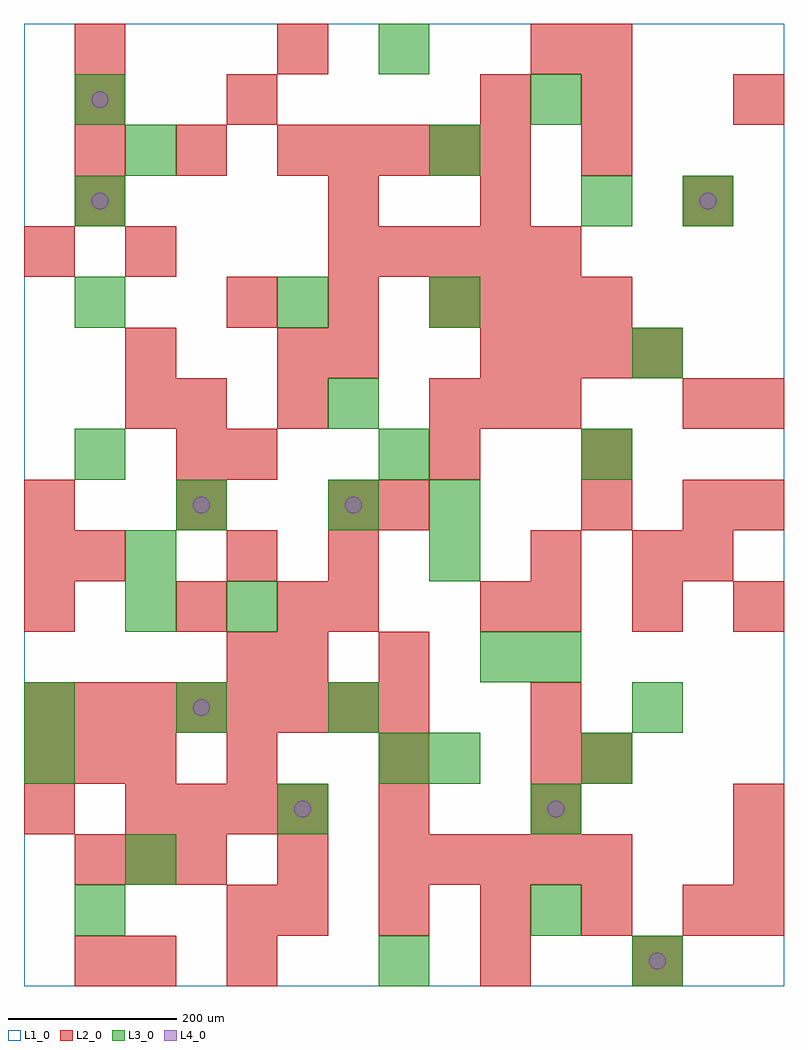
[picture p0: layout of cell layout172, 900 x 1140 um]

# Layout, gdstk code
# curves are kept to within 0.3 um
import gdstk
lib = gdstk.Library(unit=1e-6, precision=1e-09)
def R(c, l, rs):  # rectangles x0, y0, x1, y1
    for r in rs: c.add(gdstk.rectangle(r[:2], r[2:], *l))
def A(c, l, x, y, w, h, nx, ny, dx, dy):  # array of equal rectangles
    R(c, l, [(x+i*dx, y+j*dy, x+i*dx+w, y+j*dy+h) for i in range(nx) for j in range(ny)])
def P(c, l, *ps):  # polygons
    for p in ps: c.add(gdstk.Polygon(p, *l))
L1_0 = (1, 0)
L2_0 = (2, 0)
L3_0 = (3, 0)
L4_0 = (4, 0)

layout172 = lib.new_cell('layout172')
R(layout172, L1_0, [(0,0,900,1140)])
A(layout172, L2_0, 300, 60, 60, 60, 5, 1, 120, 0)
A(layout172, L2_0, 840, 60, 60, 60, 1, 3, 0, 60)
A(layout172, L2_0, 60, 120, 60, 60, 3, 1, 60, 0)
A(layout172, L2_0, 420, 120, 60, 60, 5, 1, 60, 0)
A(layout172, L2_0, 120, 180, 60, 60, 4, 1, 60, 0)
A(layout172, L2_0, 420, 180, 60, 60, 1, 3, 0, 180)
A(layout172, L2_0, 0, 240, 60, 60, 3, 1, 60, 0)
A(layout172, L2_0, 240, 240, 60, 60, 3, 1, 180, 0)
A(layout172, L2_0, 0, 300, 60, 60, 8, 1, 60, 0)
A(layout172, L2_0, 240, 360, 60, 60, 1, 3, 0, 120)
A(layout172, L2_0, 600, 420, 60, 60, 3, 1, 120, 0)
A(layout172, L2_0, 0, 540, 60, 60, 3, 1, 180, 0)
A(layout172, L2_0, 480, 660, 60, 60, 3, 1, 60, 0)
A(layout172, L2_0, 540, 720, 60, 60, 4, 1, 60, 0)
A(layout172, L2_0, 240, 780, 60, 60, 3, 1, 120, 0)
A(layout172, L2_0, 540, 780, 60, 60, 3, 1, 60, 0)
A(layout172, L2_0, 360, 840, 60, 60, 5, 1, 60, 0)
A(layout172, L2_0, 60, 960, 60, 60, 3, 1, 120, 0)
A(layout172, L2_0, 360, 960, 60, 60, 4, 1, 60, 0)
A(layout172, L2_0, 660, 960, 60, 60, 1, 3, 0, 60)
R(layout172, L2_0, [(60,0,120,60), (120,0,180,60), (240,0,300,60), (540,0,600,60), (720,0,780,60), (240,60,300,120), (300,120,360,180), (0,180,60,240), (600,180,660,240), (660,240,720,300), (600,300,660,360), (300,360,360,420), (0,420,60,480), (180,420,240,480), (300,420,360,480), (360,420,420,480), (540,420,600,480), (0,480,60,540), (60,480,120,540), (360,480,420,540), (600,480,660,540), (720,480,780,540), (780,480,840,540), (660,540,720,600), (780,540,840,600), (840,540,900,600), (180,600,240,660), (480,600,540,660), (660,600,720,660), (120,660,180,720), (180,660,240,720), (300,660,360,720), (780,660,840,720), (840,660,900,720), (120,720,180,780), (300,720,360,780), (360,720,420,780), (0,840,60,900), (120,840,180,900), (60,900,120,960), (360,900,420,960), (540,900,600,960), (780,900,840,960), (60,1020,120,1080), (240,1020,300,1080), (540,1020,600,1080), (840,1020,900,1080), (60,1080,120,1140), (300,1080,360,1140), (600,1080,660,1140)])
A(layout172, L3_0, 0, 300, 60, 60, 3, 1, 180, 0)
A(layout172, L3_0, 60, 780, 60, 60, 1, 3, 0, 120)
R(layout172, L3_0, [(420,0,480,60), (720,0,780,60), (60,60,120,120), (600,60,660,120), (120,120,180,180), (300,180,360,240), (600,180,660,240), (0,240,60,300), (420,240,480,300), (480,240,540,300), (660,240,720,300), (720,300,780,360), (540,360,600,420), (600,360,660,420), (120,420,180,480), (240,420,300,480), (120,480,180,540), (480,480,540,540), (180,540,240,600), (360,540,420,600), (480,540,540,600), (60,600,120,660), (420,600,480,660), (660,600,720,660), (360,660,420,720), (720,720,780,780), (300,780,360,840), (480,780,540,840), (660,900,720,960), (780,900,840,960), (120,960,180,1020), (480,960,540,1020), (600,1020,660,1080), (420,1080,480,1140)])
P(layout172, L4_0, [(100,930),(99.239,933.827),(97.071,937.071),(93.827,939.239),(90,940),(86.173,939.239),(82.929,937.071),(80.761,933.827),(80,930),(80.761,926.173),(82.929,922.929),(86.173,920.761),(90,920),(93.827,920.761),(97.071,922.929),(99.239,926.173)],
  [(100,1050),(99.239,1053.827),(97.071,1057.071),(93.827,1059.239),(90,1060),(86.173,1059.239),(82.929,1057.071),(80.761,1053.827),(80,1050),(80.761,1046.173),(82.929,1042.929),(86.173,1040.761),(90,1040),(93.827,1040.761),(97.071,1042.929),(99.239,1046.173)],
  [(220,330),(219.239,333.827),(217.071,337.071),(213.827,339.239),(210,340),(206.173,339.239),(202.929,337.071),(200.761,333.827),(200,330),(200.761,326.173),(202.929,322.929),(206.173,320.761),(210,320),(213.827,320.761),(217.071,322.929),(219.239,326.173)],
  [(220,570),(219.239,573.827),(217.071,577.071),(213.827,579.239),(210,580),(206.173,579.239),(202.929,577.071),(200.761,573.827),(200,570),(200.761,566.173),(202.929,562.929),(206.173,560.761),(210,560),(213.827,560.761),(217.071,562.929),(219.239,566.173)],
  [(340,210),(339.239,213.827),(337.071,217.071),(333.827,219.239),(330,220),(326.173,219.239),(322.929,217.071),(320.761,213.827),(320,210),(320.761,206.173),(322.929,202.929),(326.173,200.761),(330,200),(333.827,200.761),(337.071,202.929),(339.239,206.173)],
  [(400,570),(399.239,573.827),(397.071,577.071),(393.827,579.239),(390,580),(386.173,579.239),(382.929,577.071),(380.761,573.827),(380,570),(380.761,566.173),(382.929,562.929),(386.173,560.761),(390,560),(393.827,560.761),(397.071,562.929),(399.239,566.173)],
  [(640,210),(639.239,213.827),(637.071,217.071),(633.827,219.239),(630,220),(626.173,219.239),(622.929,217.071),(620.761,213.827),(620,210),(620.761,206.173),(622.929,202.929),(626.173,200.761),(630,200),(633.827,200.761),(637.071,202.929),(639.239,206.173)],
  [(760,30),(759.239,33.827),(757.071,37.071),(753.827,39.239),(750,40),(746.173,39.239),(742.929,37.071),(740.761,33.827),(740,30),(740.761,26.173),(742.929,22.929),(746.173,20.761),(750,20),(753.827,20.761),(757.071,22.929),(759.239,26.173)],
  [(820,930),(819.239,933.827),(817.071,937.071),(813.827,939.239),(810,940),(806.173,939.239),(802.929,937.071),(800.761,933.827),(800,930),(800.761,926.173),(802.929,922.929),(806.173,920.761),(810,920),(813.827,920.761),(817.071,922.929),(819.239,926.173)])

lib.write_gds('layout172.gds')
